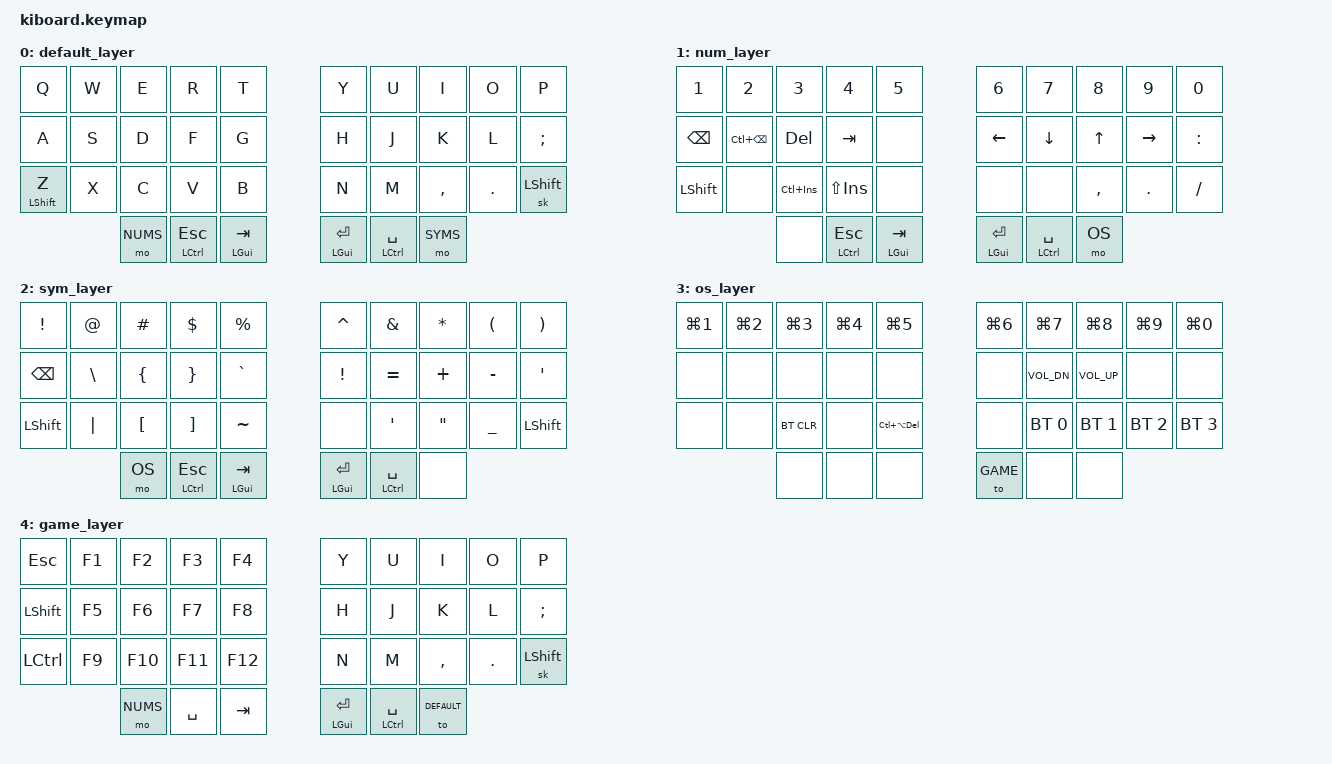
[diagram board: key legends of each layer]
#include <behaviors.dtsi>
#include <dt-bindings/zmk/keys.h>
#include <dt-bindings/zmk/bt.h>
#include <dt-bindings/zmk/outputs.h>

#define DEFAULT 0
#define NUMS 1
#define SYMS 2
#define OS   3
#define GAME 4

#define HYPER(key) LS(LC(LA(LG(key))))
#define MEH(key)   LS(LC(LA(key)))

&sl {
    release-after-ms = <2000>;
};

/ {
    behaviors {        

        ht: hold_tap {
        compatible = "zmk,behavior-hold-tap";            
        label = "POSITIONAL_HOLD_TAP";
        #binding-cells = <2>;
        flavor = "tap-preferred";
        tapping-term-ms = <200>;
        quick-tap-ms = <200>;            
        bindings = <&kp>, <&kp>;            
        };
    };

    keymap {
        compatible = "zmk,keymap";

        default_layer {
            bindings = <
&kp Q        &kp W    &kp E     &kp R     &kp T                    &kp Y     &kp U     &kp I     &kp O     &kp P    
&kp A        &kp S    &kp D     &kp F     &kp G                    &kp H     &kp J     &kp K     &kp L     &kp SEMI 
&ht LSHIFT Z &kp X    &kp C     &kp V     &kp B                    &kp N     &kp M     &kp COMMA &kp DOT   &sk LSHIFT
                      &mo NUMS  &ht LCTRL ESC   &ht LGUI TAB       &ht LGUI RET   &ht LCTRL SPC  &mo SYMS
            >;
        };

        num_layer {
            bindings = <
&kp N1     &kp N2       &kp N3      &kp N4      &kp N5      &kp N6     &kp N7     &kp N8   &kp N9      &kp N0 
&kp BSPC   &kp LC(BSPC) &kp DEL     &kp TAB     &none       &kp LEFT   &kp DOWN   &kp UP   &kp RIGHT   &kp COLON   
&kp LSHIFT &none        &kp LC(INS) &kp LS(INS) &none       &none      &none   &kp COMMA   &kp DOT   &kp FSLH
             &none &ht LCTRL ESC   &ht LGUI TAB             &ht LGUI RET   &ht LCTRL SPC  &mo OS
            >;
        };

        sym_layer {
            bindings = <
&kp EXCL &kp AT   &kp HASH &kp DLLR &kp PRCNT              &kp CARET &kp AMPS     &kp STAR  &kp LPAR    &kp RPAR    
&kp BSPC &kp BSLH   &kp LBRC   &kp RBRC   &kp GRAVE           &kp EXCL  &kp EQUAL    &kp PLUS  &kp MINUS   &kp SQT  
&kp LSHIFT &kp PIPE   &kp LBKT   &kp RBKT   &kp TILDE         &none     &kp SQT      &kp DQT   &kp UNDER   &kp LSHIFT
                 &mo OS     &ht LCTRL ESC &ht LGUI TAB     &ht LGUI RET   &ht LCTRL SPC  &none
            >;
        }; 

        os_layer {
            bindings = <
&kp LG(N1)  &kp LG(N2) &kp LG(N3) &kp LG(N4) &kp LG(N5)         &kp LG(N6) &kp LG(N7)     &kp LG(N8)   &kp LG(N9)   &kp LG(N0)
&none   &none   &none   &none   &none                           &none      &kp C_VOL_DN &kp C_VOL_UP        &none        &none  
&none   &none   &bt BT_CLR   &none   &kp LC(LA(DEL))            &none      &bt BT_SEL 0   &bt BT_SEL 1 &bt BT_SEL 2 &bt BT_SEL 3  
                             &none   &none   &none              &to GAME   &none   &none   
            >;
        };
        
        game_layer {
            bindings = <
&kp ESC    &kp F1    &kp F2     &kp F3     &kp F4           &kp Y     &kp U     &kp I     &kp O     &kp P    
&kp LSHIFT &kp F5    &kp F6     &kp F7     &kp F8           &kp H     &kp J     &kp K     &kp L     &kp SEMI 
&kp LCTRL  &kp F9    &kp F10    &kp F11    &kp F12          &kp N     &kp M     &kp COMMA &kp DOT   &sk LSHIFT
                      &mo NUMS  &kp SPC &kp TAB             &ht LGUI RET   &ht LCTRL SPC  &to DEFAULT
            >;
        };

    };
};
